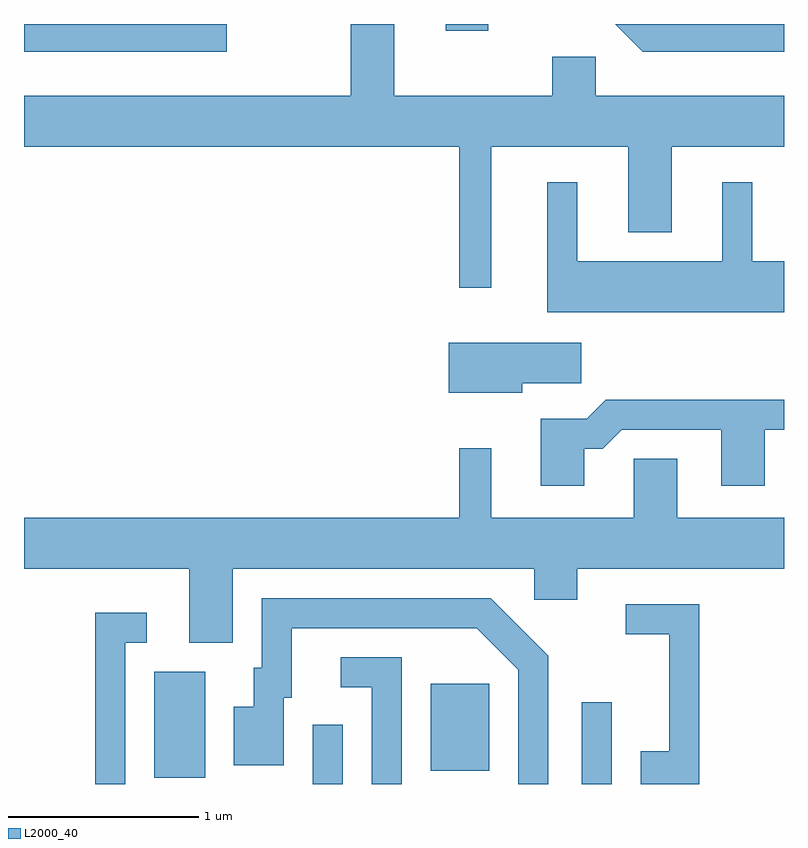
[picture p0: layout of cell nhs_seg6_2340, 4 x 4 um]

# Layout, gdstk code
import gdstk
lib = gdstk.Library(unit=1e-6, precision=1e-09)
def R(c, l, rs):  # rectangles x0, y0, x1, y1
    for r in rs: c.add(gdstk.rectangle(r[:2], r[2:], *l))
def P(c, l, *ps):  # polygons
    for p in ps: c.add(gdstk.Polygon(p, *l))
L2000_40 = (2000, 40)

nhs_seg6_2340 = lib.new_cell('nhs_seg6_2340')
R(nhs_seg6_2340, L2000_40, [(257.131,1622.162,257.289,1622.473), (258.546,1622.162,258.704,1622.593), (256.296,1622.196,256.564,1622.754), (257.751,1622.231,258.059,1622.689), (255.611,1626.016,256.678,1626.162), (257.831,1626.126,258.054,1626.162)])
P(nhs_seg6_2340, L2000_40, [(258.069,1625.516),(258.791,1625.516),(258.791,1625.066),(259.019,1625.066),(259.019,1625.516),(259.611,1625.516),(259.611,1625.784),(258.619,1625.784),(258.619,1625.989),(258.391,1625.989),(258.391,1625.784),(257.559,1625.784),(257.559,1626.162),(257.331,1626.162),(257.331,1625.784),(255.611,1625.784),(255.611,1625.516),(257.901,1625.516),(257.901,1624.773),(258.069,1624.773)],
  [(259.611,1626.162),(258.723,1626.162),(258.868,1626.016),(259.611,1626.016)],
  [(259.611,1624.914),(259.444,1624.914),(259.444,1625.328),(259.286,1625.328),(259.286,1624.914),(258.524,1624.914),(258.524,1625.328),(258.366,1625.328),(258.366,1624.646),(259.611,1624.646)],
  [(258.234,1624.271),(258.544,1624.271),(258.544,1624.484),(257.846,1624.484),(257.846,1624.221),(258.234,1624.221)],
  [(258.559,1623.926),(258.657,1623.926),(258.757,1624.026),(259.281,1624.026),(259.281,1623.731),(259.509,1623.731),(259.509,1624.026),(259.611,1624.026),(259.611,1624.184),(258.674,1624.184),(258.574,1624.084),(258.331,1624.084),(258.331,1623.731),(258.559,1623.731)],
  [(256.709,1623.296),(258.296,1623.296),(258.296,1623.131),(258.524,1623.131),(258.524,1623.296),(259.611,1623.296),(259.611,1623.564),(259.049,1623.564),(259.049,1623.874),(258.821,1623.874),(258.821,1623.564),(258.069,1623.564),(258.069,1623.928),(257.901,1623.928),(257.901,1623.564),(255.611,1623.564),(255.611,1623.296),(256.481,1623.296),(256.481,1622.906),(256.709,1622.906)],
  [(258.369,1622.837),(258.067,1623.139),(256.861,1623.139),(256.861,1622.774),(256.821,1622.774),(256.821,1622.569),(256.716,1622.569),(256.716,1622.261),(256.979,1622.261),(256.979,1622.616),(257.019,1622.616),(257.019,1622.981),(257.993,1622.981),(258.211,1622.764),(258.211,1622.162),(258.369,1622.162)],
  [(259.164,1623.109),(258.778,1623.109),(258.778,1622.951),(259.006,1622.951),(259.006,1622.334),(258.856,1622.334),(258.856,1622.162),(259.164,1622.162)],
  [(256.144,1622.906),(256.258,1622.906),(256.258,1623.064),(255.986,1623.064),(255.986,1622.162),(256.144,1622.162)],
  [(257.599,1622.829),(257.278,1622.829),(257.278,1622.671),(257.441,1622.671),(257.441,1622.162),(257.599,1622.162)])

lib.write_gds('nhs_seg6_2340.gds')
